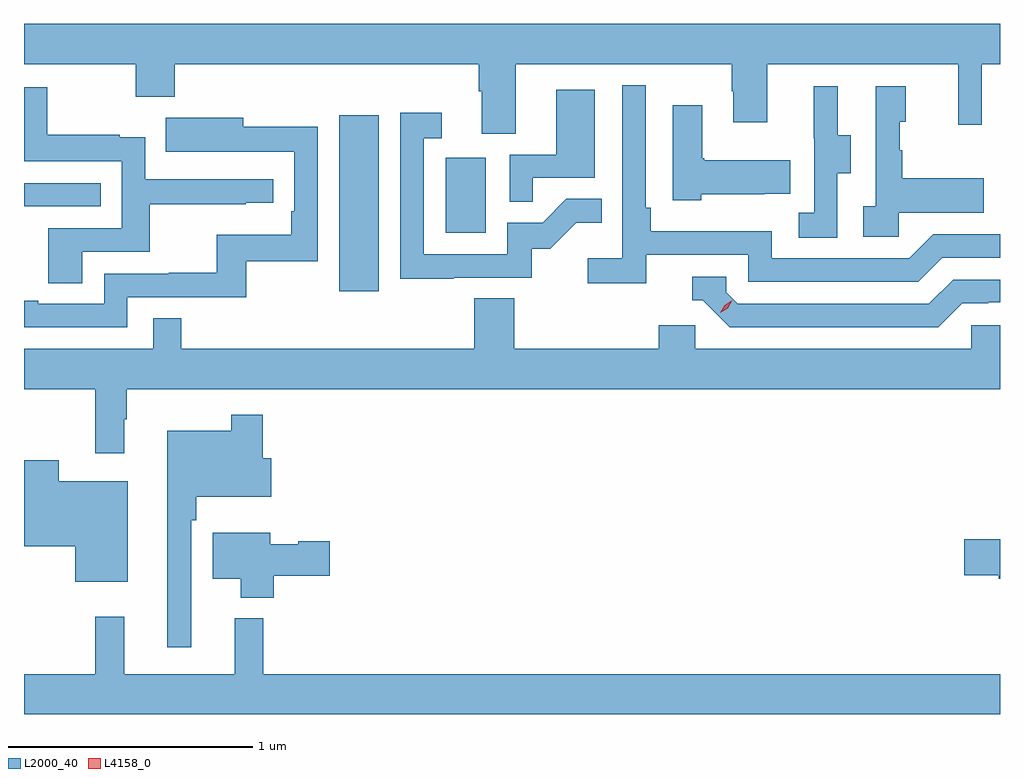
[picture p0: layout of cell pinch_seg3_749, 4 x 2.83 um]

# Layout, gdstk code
import gdstk
lib = gdstk.Library(unit=1e-6, precision=1e-09)
def R(c, l, rs):  # rectangles x0, y0, x1, y1
    for r in rs: c.add(gdstk.rectangle(r[:2], r[2:], *l))
def P(c, l, *ps):  # polygons
    for p in ps: c.add(gdstk.Polygon(p, *l))
L2000_40 = (2000, 40)
L4158_0 = (4158, 0)

pinch_seg3_749 = lib.new_cell('pinch_seg3_749')
R(pinch_seg3_749, L2000_40, [(850.421,730.62,850.582,731.341), (850.856,730.86,851.02,731.167), (849.128,730.968,849.443,731.064)])
P(pinch_seg3_749, L2000_40, [(851.143,731.552),(852.028,731.552),(852.028,731.441),(852.035,731.441),(852.035,731.313),(852.175,731.313),(852.175,731.552),(852.956,731.552),(852.956,731.304),(853.053,731.304),(853.053,731.552),(853.128,731.552),(853.128,731.716),(849.128,731.716),(849.128,731.552),(849.586,731.552),(849.586,731.417),(849.746,731.417),(849.746,731.552),(850.991,731.552),(850.991,731.44),(851.003,731.44),(851.003,731.266),(851.143,731.266)],
  [(851.678,730.77),(852.096,730.77),(852.096,730.659),(852.793,730.659),(852.892,730.758),(853.128,730.758),(853.128,730.854),(852.855,730.854),(852.756,730.755),(852.192,730.755),(852.192,730.866),(851.696,730.866),(851.696,730.963),(851.676,730.963),(851.676,731.464),(851.58,731.464),(851.58,730.756),(851.439,730.756),(851.439,730.654),(851.678,730.654)],
  [(852.462,731.104),(852.517,731.104),(852.517,731.259),(852.463,731.259),(852.463,731.461),(852.365,731.461),(852.365,731.247),(852.366,731.247),(852.366,730.943),(852.303,730.943),(852.303,730.84),(852.462,730.84)],
  [(852.714,730.943),(853.061,730.943),(853.061,731.083),(852.727,731.083),(852.727,731.198),(852.717,731.198),(852.717,731.316),(852.742,731.316),(852.742,731.461),(852.618,731.461),(852.618,730.97),(852.567,730.97),(852.567,730.845),(852.714,730.845)],
  [(849.367,730.782),(849.644,730.782),(849.644,730.978),(850.037,730.978),(850.037,730.983),(850.15,730.983),(850.15,731.079),(849.624,731.079),(849.624,731.251),(849.521,731.251),(849.521,731.263),(849.223,731.263),(849.223,731.457),(849.128,731.457),(849.128,731.154),(849.528,731.154),(849.528,730.878),(849.227,730.878),(849.227,730.654),(849.367,730.654)],
  [(851.213,731.085),(851.467,731.085),(851.467,731.446),(851.309,731.446),(851.309,731.181),(851.118,731.181),(851.118,730.987),(851.213,730.987)],
  [(851.904,731.018),(852.161,731.018),(852.161,731.021),(852.269,731.021),(852.269,731.158),(851.916,731.158),(851.916,731.166),(851.908,731.166),(851.908,731.383),(851.786,731.383),(851.786,730.994),(851.904,730.994)],
  [(850.889,730.677),(851.208,730.677),(851.208,730.794),(851.284,730.794),(851.391,730.901),(851.495,730.901),(851.495,731),(851.351,731),(851.253,730.902),(851.109,730.902),(851.109,730.773),(850.767,730.773),(850.767,731.247),(850.84,731.247),(850.84,731.353),(850.671,731.353),(850.671,730.672),(850.889,730.672)],
  [(849.552,730.596),(850.039,730.596),(850.039,730.743),(850.332,730.743),(850.332,731.294),(850.027,731.294),(850.027,731.332),(849.709,731.332),(849.709,731.192),(849.923,731.192),(849.923,731.193),(850.236,731.193),(850.236,730.948),(850.223,730.948),(850.223,730.852),(849.918,730.852),(849.918,730.697),(849.721,730.697),(849.721,730.692),(849.456,730.692),(849.456,730.569),(849.187,730.569),(849.187,730.582),(849.128,730.582),(849.128,730.473),(849.552,730.473)],
  [(852.973,730.572),(853.08,730.572),(853.08,730.575),(853.128,730.575),(853.128,730.668),(852.936,730.668),(852.837,730.569),(852.054,730.569),(852.006,730.617),(852.006,730.68),(851.867,730.68),(851.867,730.584),(851.91,730.584),(852.021,730.473),(852.874,730.473)],
  [(849.538,730.097),(849.55,730.097),(849.55,730.22),(853.128,730.22),(853.128,730.482),(853.011,730.482),(853.011,730.384),(851.88,730.384),(851.88,730.482),(851.729,730.482),(851.729,730.384),(851.138,730.384),(851.138,730.592),(850.973,730.592),(850.973,730.384),(849.773,730.384),(849.773,730.511),(849.657,730.511),(849.657,730.384),(849.128,730.384),(849.128,730.22),(849.421,730.22),(849.421,729.957),(849.538,729.957)],
  [(849.813,729.683),(849.833,729.683),(849.833,729.779),(850.141,729.779),(850.141,729.937),(850.106,729.937),(850.106,730.114),(849.978,730.114),(849.978,730.048),(849.716,730.048),(849.716,729.162),(849.813,729.162)],
  [(849.553,729.841),(849.27,729.841),(849.27,729.928),(849.128,729.928),(849.128,729.575),(849.338,729.575),(849.338,729.431),(849.553,729.431)],
  [(850.151,729.454),(850.381,729.454),(850.381,729.596),(850.251,729.596),(850.251,729.583),(850.138,729.583),(850.138,729.631),(849.902,729.631),(849.902,729.443),(850.016,729.443),(850.016,729.365),(850.151,729.365)],
  [(853.128,729.604),(852.981,729.604),(852.981,729.457),(853.122,729.457),(853.122,729.443),(853.128,729.443)],
  [(853.128,729.052),(850.109,729.052),(850.109,729.28),(849.992,729.28),(849.992,729.052),(849.539,729.052),(849.539,729.286),(849.421,729.286),(849.421,729.052),(849.128,729.052),(849.128,728.888),(853.128,728.888)])
P(pinch_seg3_749, L4158_0, [(851.982,730.532),(851.982,730.532),(851.999,730.564),(852.03,730.583),(852.03,730.583),(852.03,730.583),(852.013,730.551),(851.982,730.532)])

lib.write_gds('pinch_seg3_749.gds')
